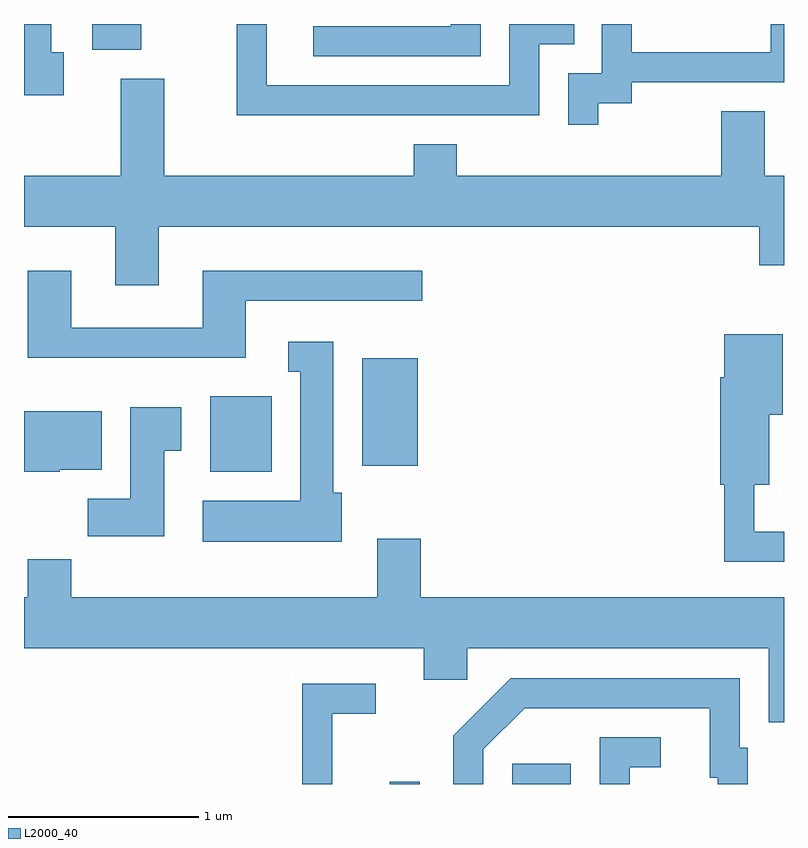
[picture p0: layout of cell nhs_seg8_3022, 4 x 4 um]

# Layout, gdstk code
import gdstk
lib = gdstk.Library(unit=1e-6, precision=1e-09)
def R(c, l, rs):  # rectangles x0, y0, x1, y1
    for r in rs: c.add(gdstk.rectangle(r[:2], r[2:], *l))
def P(c, l, *ps):  # polygons
    for p in ps: c.add(gdstk.Polygon(p, *l))
L2000_40 = (2000, 40)

nhs_seg8_3022 = lib.new_cell('nhs_seg8_3022')
R(nhs_seg8_3022, L2000_40, [(277.536,1862.342,277.694,1862.353), (278.181,1862.342,278.489,1862.449), (276.591,1863.986,276.914,1864.384), (277.391,1864.016,277.684,1864.584), (275.971,1866.206,276.229,1866.342)])
P(nhs_seg8_3022, L2000_40, [(278.324,1866.236),(278.508,1866.236),(278.508,1866.342),(278.166,1866.342),(278.166,1866.019),(276.889,1866.019),(276.889,1866.342),(276.731,1866.342),(276.731,1865.861),(278.324,1865.861)],
  [(275.819,1866.194),(275.754,1866.194),(275.754,1866.342),(275.611,1866.342),(275.611,1865.966),(275.819,1865.966)],
  [(278.014,1866.342),(277.856,1866.342),(277.856,1866.329),(277.133,1866.329),(277.133,1866.171),(278.014,1866.171)],
  [(278.634,1865.926),(278.809,1865.926),(278.809,1866.036),(279.611,1866.036),(279.611,1866.342),(279.541,1866.342),(279.541,1866.194),(278.809,1866.194),(278.809,1866.342),(278.651,1866.342),(278.651,1866.084),(278.476,1866.084),(278.476,1865.813),(278.634,1865.813)],
  [(276.319,1865.276),(279.481,1865.276),(279.481,1865.071),(279.611,1865.071),(279.611,1865.544),(279.509,1865.544),(279.509,1865.884),(279.281,1865.884),(279.281,1865.544),(277.889,1865.544),(277.889,1865.709),(277.661,1865.709),(277.661,1865.544),(276.349,1865.544),(276.349,1866.054),(276.121,1866.054),(276.121,1865.544),(275.611,1865.544),(275.611,1865.276),(276.091,1865.276),(276.091,1864.966),(276.319,1864.966)],
  [(276.779,1864.886),(277.708,1864.886),(277.708,1865.044),(276.551,1865.044),(276.551,1864.744),(275.859,1864.744),(275.859,1865.044),(275.631,1865.044),(275.631,1864.586),(276.779,1864.586)],
  [(279.611,1863.669),(279.454,1863.669),(279.454,1863.916),(279.534,1863.916),(279.534,1864.286),(279.604,1864.286),(279.604,1864.709),(279.296,1864.709),(279.296,1864.484),(279.276,1864.484),(279.276,1863.916),(279.296,1863.916),(279.296,1863.511),(279.611,1863.511)],
  [(277.284,1863.874),(277.239,1863.874),(277.239,1864.669),(277.003,1864.669),(277.003,1864.511),(277.066,1864.511),(277.066,1863.834),(276.551,1863.834),(276.551,1863.616),(277.284,1863.616)],
  [(276.349,1864.096),(276.439,1864.096),(276.439,1864.324),(276.171,1864.324),(276.171,1863.844),(275.946,1863.844),(275.946,1863.646),(276.349,1863.646)],
  [(275.8,1863.996),(276.019,1863.996),(276.019,1864.304),(275.611,1864.304),(275.611,1863.986),(275.8,1863.986)],
  [(279.611,1863.324),(277.699,1863.324),(277.699,1863.634),(277.471,1863.634),(277.471,1863.324),(275.859,1863.324),(275.859,1863.524),(275.631,1863.524),(275.631,1863.324),(275.611,1863.324),(275.611,1863.056),(277.716,1863.056),(277.716,1862.891),(277.944,1862.891),(277.944,1863.056),(279.531,1863.056),(279.531,1862.666),(279.611,1862.666)],
  [(278.029,1862.524),(278.247,1862.741),(279.221,1862.741),(279.221,1862.376),(279.261,1862.376),(279.261,1862.342),(279.419,1862.342),(279.419,1862.534),(279.379,1862.534),(279.379,1862.899),(278.174,1862.899),(277.871,1862.597),(277.871,1862.342),(278.029,1862.342)],
  [(277.234,1862.711),(277.463,1862.711),(277.463,1862.869),(277.076,1862.869),(277.076,1862.342),(277.234,1862.342)],
  [(278.799,1862.431),(278.963,1862.431),(278.963,1862.589),(278.641,1862.589),(278.641,1862.342),(278.799,1862.342)])

lib.write_gds('nhs_seg8_3022.gds')
